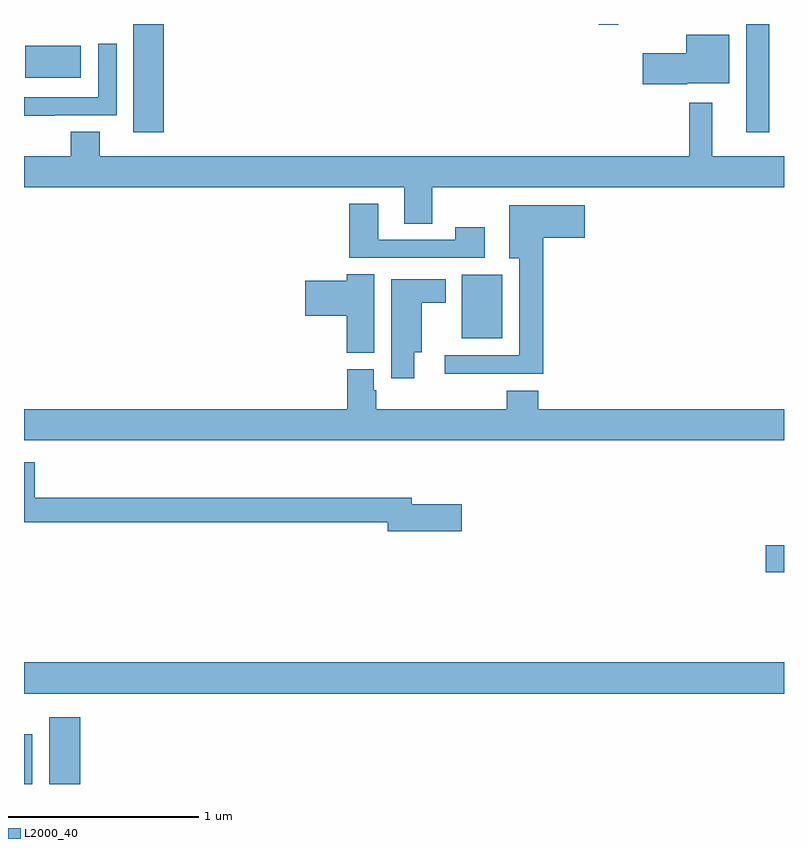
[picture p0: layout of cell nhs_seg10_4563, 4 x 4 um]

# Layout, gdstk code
import gdstk
lib = gdstk.Library(unit=1e-6, precision=1e-09)
def R(c, l, rs):  # rectangles x0, y0, x1, y1
    for r in rs: c.add(gdstk.rectangle(r[:2], r[2:], *l))
def P(c, l, *ps):  # polygons
    for p in ps: c.add(gdstk.Polygon(p, *l))
L2000_40 = (2000, 40)

nhs_seg10_4563 = lib.new_cell('nhs_seg10_4563')
R(nhs_seg10_4563, L2000_40, [(371,1306.5,371.043,1306.761), (371.132,1306.5,371.296,1306.852), (371,1306.976,375,1307.14), (374.904,1307.614,375,1307.756), (373.304,1308.845,373.516,1309.18), (371.576,1309.929,371.735,1310.5), (374.801,1309.929,374.923,1310.5), (371.006,1310.216,371.299,1310.386), (374.024,1310.495,374.128,1310.5)])
P(nhs_seg10_4563, L2000_40, [(374.49,1310.189),(374.713,1310.189),(374.713,1310.443),(374.486,1310.443),(374.486,1310.347),(374.256,1310.347),(374.256,1310.182),(374.49,1310.182)],
  [(371.162,1310.019),(371.487,1310.019),(371.487,1310.395),(371.391,1310.395),(371.391,1310.115),(371,1310.115),(371,1310.018),(371.162,1310.018)],
  [(373.149,1309.64),(375,1309.64),(375,1309.804),(374.623,1309.804),(374.623,1310.086),(374.502,1310.086),(374.502,1309.804),(371.398,1309.804),(371.398,1309.934),(371.246,1309.934),(371.246,1309.804),(371,1309.804),(371,1309.64),(373.001,1309.64),(373.001,1309.45),(373.149,1309.45)],
  [(373.426,1309.429),(373.27,1309.429),(373.27,1309.365),(372.865,1309.365),(372.865,1309.555),(372.713,1309.555),(372.713,1309.269),(373.426,1309.269)],
  [(373.733,1309.376),(373.951,1309.376),(373.951,1309.546),(373.553,1309.546),(373.553,1309.268),(373.607,1309.268),(373.607,1308.756),(373.215,1308.756),(373.215,1308.659),(373.733,1308.659)],
  [(372.844,1309.184),(372.698,1309.184),(372.698,1309.148),(372.48,1309.148),(372.48,1308.965),(372.698,1308.965),(372.698,1308.769),(372.844,1308.769)],
  [(373.054,1308.773),(373.093,1308.773),(373.093,1309.034),(373.219,1309.034),(373.219,1309.156),(372.932,1309.156),(372.932,1308.636),(373.054,1308.636)],
  [(375,1308.472),(373.706,1308.472),(373.706,1308.571),(373.541,1308.571),(373.541,1308.472),(372.854,1308.472),(372.854,1308.573),(372.841,1308.573),(372.841,1308.684),(372.701,1308.684),(372.701,1308.472),(371,1308.472),(371,1308.308),(375,1308.308)],
  [(373.303,1307.973),(373.042,1307.973),(373.042,1308.007),(371.056,1308.007),(371.056,1308.193),(371,1308.193),(371,1307.878),(372.914,1307.878),(372.914,1307.831),(373.303,1307.831)])

lib.write_gds('nhs_seg10_4563.gds')
